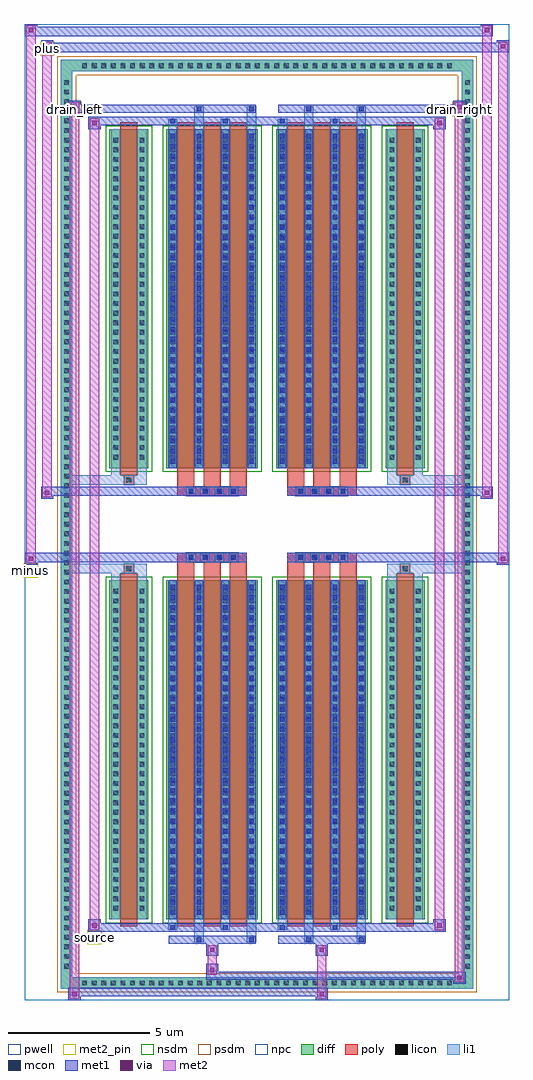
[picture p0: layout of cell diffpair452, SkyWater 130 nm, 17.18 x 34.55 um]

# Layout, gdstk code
import gdstk
lib = gdstk.Library(unit=1e-6, precision=5e-09)
def R(c, l, rs):  # rectangles x0, y0, x1, y1
    for r in rs: c.add(gdstk.rectangle(r[:2], r[2:], *l))
def A(c, l, x, y, w, h, nx, ny, dx, dy):  # array of equal rectangles
    R(c, l, [(x+i*dx, y+j*dy, x+i*dx+w, y+j*dy+h) for i in range(nx) for j in range(ny)])
def P(c, l, *ps):  # polygons
    for p in ps: c.add(gdstk.Polygon(p, *l))
pwell = (64, 44)
diff = (65, 20)
poly = (66, 20)
licon = (66, 44)
li1 = (67, 20)
mcon = (67, 44)
met1 = (68, 20)
via = (68, 44)
met2_pin = (69, 16)
met2 = (69, 20)
nsdm = (93, 44)
psdm = (94, 20)
npc = (95, 20)

diffpair452 = lib.new_cell('diffpair452')
R(diffpair452, pwell, [(-8.57,-16.84,8.57,17.71), (-5.89,-15.03,-0.01,-0.805), (0.01,-15.03,5.89,-0.805), (-5.89,0.805,-0.01,15.03), (0.01,0.805,5.89,15.03)])
A(diffpair452, diff, -6.665, -16.44, 0.41, 0.41, 39, 2, 0.34, 32.47)
A(diffpair452, diff, -7.3, -15.845, 0.41, 0.41, 1, 93, 0, 0.34)
A(diffpair452, diff, 6.89, -15.845, 0.41, 0.41, 1, 93, 0, 0.34)
R(diffpair452, diff, [(-6.665,-16.44,6.665,-16.03), (-7.3,-15.845,-6.89,15.845), (6.89,-15.845,7.3,15.845), (-5.58,-13.985,-4.2,-1.985), (-3.56,-13.985,-0.32,-1.985), (0.32,-13.985,3.56,-1.985), (4.2,-13.985,5.58,-1.985), (-5.58,1.985,-4.2,13.985), (-3.56,1.985,-0.32,13.985), (0.32,1.985,3.56,13.985), (4.2,1.985,5.58,13.985), (-6.665,16.03,6.665,16.44)])
P(diffpair452, diff, [(7.3,16.44),(-7.3,16.44),(-7.3,-16.03),(-6.89,-16.03),(-6.89,16.03),(6.89,16.03),(6.89,-16.03),(-6.89,-16.03),(-7.3,-16.03),(-7.3,-16.44),(7.3,-16.44)])
A(diffpair452, poly, -3.17, -14.235, 0.6, 12.5, 3, 2, 0.93, 15.97)
A(diffpair452, poly, 0.71, -14.235, 0.6, 12.5, 3, 2, 0.93, 15.97)
A(diffpair452, poly, -3.17, -1.735, 0.6, 0.4, 3, 2, 0.93, 3.07)
A(diffpair452, poly, 0.71, -1.735, 0.6, 0.4, 3, 2, 0.93, 3.07)
A(diffpair452, poly, -2.855, -1.335, 0.33, 0.33, 4, 2, 0.5, 2.34)
A(diffpair452, poly, 1.025, -1.335, 0.33, 0.33, 4, 2, 0.5, 2.34)
R(diffpair452, poly, [(-5.19,-14.235,-4.59,-1.735), (4.59,-14.235,5.19,-1.735), (-5.055,-1.735,-4.725,-1.405), (-5.055,-1.735,-4.725,-1.405), (4.725,-1.735,5.055,-1.405), (4.725,-1.735,5.055,-1.405), (-3.17,-1.335,-0.71,-1.005), (0.71,-1.335,3.17,-1.005), (-3.17,1.005,-0.71,1.335), (0.71,1.005,3.17,1.335), (-5.055,1.405,-4.725,1.735), (-5.055,1.405,-4.725,1.735), (4.725,1.405,5.055,1.735), (4.725,1.405,5.055,1.735), (-5.19,1.735,-4.59,14.235), (4.59,1.735,5.19,14.235)])
A(diffpair452, licon, -6.545, -16.32, 0.17, 0.17, 39, 2, 0.34, 32.47)
A(diffpair452, licon, -7.18, -15.725, 0.17, 0.17, 1, 93, 0, 0.34)
A(diffpair452, licon, 7.01, -15.725, 0.17, 0.17, 1, 93, 0, 0.34)
A(diffpair452, licon, -5.44, -13.68, 0.17, 0.17, 1, 34, 0, 0.34)
A(diffpair452, licon, -4.51, -13.68, 0.17, 0.17, 1, 34, 0, 0.34)
A(diffpair452, licon, -3.42, -13.68, 0.17, 0.17, 4, 34, 0.93, 0.34)
A(diffpair452, licon, 0.46, -13.68, 0.17, 0.17, 4, 34, 0.93, 0.34)
A(diffpair452, licon, 4.34, -13.68, 0.17, 0.17, 1, 34, 0, 0.34)
A(diffpair452, licon, 5.27, -13.68, 0.17, 0.17, 1, 34, 0, 0.34)
A(diffpair452, licon, -2.775, -1.255, 0.17, 0.17, 4, 2, 0.5, 2.34)
A(diffpair452, licon, 1.105, -1.255, 0.17, 0.17, 4, 2, 0.5, 2.34)
A(diffpair452, licon, -5.44, 2.29, 0.17, 0.17, 1, 34, 0, 0.34)
A(diffpair452, licon, -4.51, 2.29, 0.17, 0.17, 1, 34, 0, 0.34)
A(diffpair452, licon, -3.42, 2.29, 0.17, 0.17, 4, 34, 0.93, 0.34)
A(diffpair452, licon, 0.46, 2.29, 0.17, 0.17, 4, 34, 0.93, 0.34)
A(diffpair452, licon, 4.34, 2.29, 0.17, 0.17, 1, 34, 0, 0.34)
A(diffpair452, licon, 5.27, 2.29, 0.17, 0.17, 1, 34, 0, 0.34)
R(diffpair452, licon, [(-4.975,-1.655,-4.805,-1.485), (4.805,-1.655,4.975,-1.485), (-4.975,1.485,-4.805,1.655), (4.805,1.485,4.975,1.655)])
A(diffpair452, li1, -6.625, -16.4, 0.33, 0.33, 39, 2, 0.34, 32.47)
A(diffpair452, li1, -7.26, -15.805, 0.33, 0.33, 1, 93, 0, 0.34)
A(diffpair452, li1, 6.93, -15.805, 0.33, 0.33, 1, 93, 0, 0.34)
A(diffpair452, li1, -3.5, -13.985, 0.33, 12, 4, 2, 0.93, 15.97)
A(diffpair452, li1, 0.38, -13.985, 0.33, 12, 4, 2, 0.93, 15.97)
A(diffpair452, li1, -3.42, -13.83, 0.17, 0.17, 4, 33, 0.93, 0.36)
A(diffpair452, li1, -3.42, -13.83, 0.17, 11.69, 4, 2, 0.93, 15.97)
A(diffpair452, li1, 0.46, -13.83, 0.17, 0.17, 4, 33, 0.93, 0.36)
A(diffpair452, li1, 0.46, -13.83, 0.17, 11.69, 4, 2, 0.93, 15.97)
A(diffpair452, li1, -5.52, -13.76, 0.33, 0.33, 1, 34, 0, 0.34)
A(diffpair452, li1, -4.59, -13.76, 0.33, 0.33, 1, 34, 0, 0.34)
A(diffpair452, li1, -3.5, -13.76, 0.33, 0.33, 4, 34, 0.93, 0.34)
A(diffpair452, li1, 0.38, -13.76, 0.33, 0.33, 4, 34, 0.93, 0.34)
A(diffpair452, li1, 4.26, -13.76, 0.33, 0.33, 1, 34, 0, 0.34)
A(diffpair452, li1, 5.19, -13.76, 0.33, 0.33, 1, 34, 0, 0.34)
A(diffpair452, li1, -2.855, -1.335, 0.33, 0.33, 4, 2, 0.5, 2.34)
A(diffpair452, li1, 1.025, -1.335, 0.33, 0.33, 4, 2, 0.5, 2.34)
A(diffpair452, li1, -3.42, 2.14, 0.17, 0.17, 4, 33, 0.93, 0.36)
A(diffpair452, li1, 0.46, 2.14, 0.17, 0.17, 4, 33, 0.93, 0.36)
A(diffpair452, li1, -5.52, 2.21, 0.33, 0.33, 1, 34, 0, 0.34)
A(diffpair452, li1, -4.59, 2.21, 0.33, 0.33, 1, 34, 0, 0.34)
A(diffpair452, li1, -3.5, 2.21, 0.33, 0.33, 4, 34, 0.93, 0.34)
A(diffpair452, li1, 0.38, 2.21, 0.33, 0.33, 4, 34, 0.93, 0.34)
A(diffpair452, li1, 4.26, 2.21, 0.33, 0.33, 1, 34, 0, 0.34)
A(diffpair452, li1, 5.19, 2.21, 0.33, 0.33, 1, 34, 0, 0.34)
R(diffpair452, li1, [(-7.3,-16.44,-6.89,-16.03), (-7.3,-16.44,-6.89,-16.03), (-6.89,-16.44,6.89,-16.03), (6.89,-16.44,7.3,-16.03), (6.89,-16.44,7.3,-16.03), (-7.3,-16.03,-6.89,16.03), (6.89,-16.03,7.3,16.03), (-2.57,-14.79,-2.24,-13.985), (-2.49,-14.79,-2.32,-14.62), (-0.71,-14.79,-0.38,-13.985), (-0.63,-14.79,-0.46,-14.62), (1.31,-14.79,1.64,-13.985), (1.39,-14.79,1.56,-14.62), (3.17,-14.79,3.5,-13.985), (3.25,-14.79,3.42,-14.62), (-3.5,-14.36,-3.17,-13.985), (-3.42,-14.36,-3.25,-14.19), (-1.64,-14.36,-1.31,-13.985), (-1.56,-14.36,-1.39,-14.19), (0.38,-14.36,0.71,-13.985), (0.46,-14.36,0.63,-14.19), (2.24,-14.36,2.57,-13.985), (2.32,-14.36,2.49,-14.19), (-5.52,-13.985,-5.19,-1.985), (-4.59,-13.985,-4.26,-1.985), (4.26,-13.985,4.59,-1.985), (5.19,-13.985,5.52,-1.985), (-5.52,-1.985,-5.19,-1.405), (-4.59,-1.985,-4.26,-1.405), (4.26,-1.985,4.59,-1.405), (5.19,-1.985,5.52,-1.405), (-7.3,-1.735,-5.055,-1.405), (-5.52,-1.735,-5.055,-1.405), (-5.055,-1.735,-4.725,-1.405), (-4.725,-1.735,-4.26,-1.405), (4.26,-1.735,4.725,-1.405), (4.725,-1.735,5.055,-1.405), (4.725,-1.735,7.3,-1.405), (5.055,-1.735,5.52,-1.405), (-7.3,1.405,-5.055,1.735), (-5.52,1.405,-5.055,1.735), (-5.52,1.405,-5.19,1.985), (-5.055,1.405,-4.725,1.735), (-4.725,1.405,-4.26,1.735), (-4.59,1.405,-4.26,1.985), (4.26,1.405,4.725,1.735), (4.26,1.405,4.59,1.985), (4.725,1.405,5.055,1.735), (4.725,1.405,7.3,1.735), (5.055,1.405,5.52,1.735), (5.19,1.405,5.52,1.985), (-5.52,1.985,-5.19,13.985), (-4.59,1.985,-4.26,13.985), (4.26,1.985,4.59,13.985), (5.19,1.985,5.52,13.985), (-3.5,13.985,-3.17,14.36), (-2.57,13.985,-2.24,14.79), (-1.64,13.985,-1.31,14.36), (-0.71,13.985,-0.38,14.79), (0.38,13.985,0.71,14.36), (1.31,13.985,1.64,14.79), (2.24,13.985,2.57,14.36), (3.17,13.985,3.5,14.79), (-3.42,14.19,-3.25,14.36), (-1.56,14.19,-1.39,14.36), (0.46,14.19,0.63,14.36), (2.32,14.19,2.49,14.36), (-2.49,14.62,-2.32,14.79), (-0.63,14.62,-0.46,14.79), (1.39,14.62,1.56,14.79), (3.25,14.62,3.42,14.79), (-7.3,16.03,-6.89,16.44), (-7.3,16.03,-6.89,16.44), (-6.89,16.03,6.89,16.44), (6.89,16.03,7.3,16.44), (6.89,16.03,7.3,16.44)])
A(diffpair452, mcon, -3.42, -13.83, 0.17, 0.17, 4, 33, 0.93, 0.36)
A(diffpair452, mcon, 0.46, -13.83, 0.17, 0.17, 4, 33, 0.93, 0.36)
A(diffpair452, mcon, -2.775, -1.255, 0.17, 0.17, 4, 2, 0.5, 2.34)
A(diffpair452, mcon, 1.105, -1.255, 0.17, 0.17, 4, 2, 0.5, 2.34)
A(diffpair452, mcon, -3.42, 2.14, 0.17, 0.17, 4, 33, 0.93, 0.36)
A(diffpair452, mcon, 0.46, 2.14, 0.17, 0.17, 4, 33, 0.93, 0.36)
R(diffpair452, mcon, [(-2.49,-14.79,-2.32,-14.62), (-0.63,-14.79,-0.46,-14.62), (1.39,-14.79,1.56,-14.62), (3.25,-14.79,3.42,-14.62), (-3.42,-14.36,-3.25,-14.19), (-1.56,-14.36,-1.39,-14.19), (0.46,-14.36,0.63,-14.19), (2.32,-14.36,2.49,-14.19), (-3.42,14.19,-3.25,14.36), (-1.56,14.19,-1.39,14.36), (0.46,14.19,0.63,14.36), (2.32,14.19,2.49,14.36), (-2.49,14.62,-2.32,14.79), (-0.63,14.62,-0.46,14.79), (1.39,14.62,1.56,14.79), (3.25,14.62,3.42,14.79)])
A(diffpair452, met1, -3.48, -13.985, 0.29, 12, 4, 2, 0.93, 15.97)
A(diffpair452, met1, 0.4, -13.985, 0.29, 12, 4, 2, 0.93, 15.97)
A(diffpair452, met1, -3.48, -13.89, 0.29, 0.29, 4, 33, 0.93, 0.36)
A(diffpair452, met1, 0.4, -13.89, 0.29, 0.29, 4, 33, 0.93, 0.36)
A(diffpair452, met1, -2.835, -1.315, 0.29, 0.29, 4, 2, 0.5, 2.34)
A(diffpair452, met1, 1.045, -1.315, 0.29, 0.29, 4, 2, 0.5, 2.34)
A(diffpair452, met1, -3.48, 2.08, 0.29, 0.29, 4, 33, 0.93, 0.36)
A(diffpair452, met1, 0.4, 2.08, 0.29, 0.29, 4, 33, 0.93, 0.36)
R(diffpair452, met1, [(-7.03,-16.84,-6.6,-16.41), (1.725,-16.84,2.155,-16.41), (-7.03,-16.7,2.155,-16.41), (6.6,-16.27,7.03,-15.84), (-2.155,-16.13,7.03,-15.84), (-2.155,-15.99,-1.725,-15.56), (-2.155,-15.28,-1.725,-14.85), (1.725,-15.28,2.155,-14.85), (-3.48,-14.85,-0.4,-14.56), (-2.55,-14.85,-2.26,-14.56), (-0.69,-14.85,-0.4,-14.56), (0.4,-14.85,3.48,-14.56), (1.33,-14.85,1.62,-14.56), (3.19,-14.85,3.48,-14.56), (-6.32,-14.42,-5.89,-13.99), (-6.32,-14.42,-3.48,-14.13), (-3.48,-14.42,-3.19,-14.13), (-3.48,-14.42,-0.4,-14.13), (-1.62,-14.42,-1.33,-14.13), (-0.4,-14.42,0.4,-14.13), (0.4,-14.42,0.69,-14.13), (0.4,-14.42,3.48,-14.13), (2.26,-14.42,2.55,-14.13), (3.48,-14.42,6.32,-14.13), (5.89,-14.42,6.32,-13.99), (-8.57,-1.435,-8.14,-1.005), (8.14,-1.435,8.57,-1.005), (-8.57,-1.335,-0.71,-1.005), (-3.17,-1.335,-0.71,-1.005), (0.71,-1.335,3.17,-1.005), (0.71,-1.335,8.57,-1.005), (-8,0.905,-7.57,1.335), (7.57,0.905,8,1.335), (-8,1.005,-3.17,1.335), (-3.17,1.005,-0.71,1.335), (0.71,1.005,3.17,1.335), (3.17,1.005,8,1.335), (-6.32,13.99,-5.89,14.42), (5.89,13.99,6.32,14.42), (-6.32,14.13,-3.48,14.42), (-3.48,14.13,-3.19,14.42), (-3.48,14.13,-0.4,14.42), (-1.62,14.13,-1.33,14.42), (-0.4,14.13,0.4,14.42), (0.4,14.13,0.69,14.42), (0.4,14.13,3.48,14.42), (2.26,14.13,2.55,14.42), (3.48,14.13,6.32,14.42), (-7.03,14.56,-6.6,14.99), (-7.03,14.56,-3.48,14.85), (-3.48,14.56,-0.4,14.85), (-2.55,14.56,-2.26,14.85), (-0.69,14.56,-0.4,14.85), (0.4,14.56,3.48,14.85), (1.33,14.56,1.62,14.85), (3.19,14.56,3.48,14.85), (3.48,14.56,7.03,14.85), (6.6,14.56,7.03,14.99), (-8,16.71,-7.57,17.14), (-8,16.71,-5.89,17.04), (-5.89,16.71,5.89,17.04), (5.89,16.71,8.57,17.04), (8.14,16.71,8.57,17.14), (-8.57,17.28,-8.14,17.71), (-8.57,17.28,-5.89,17.61), (-5.89,17.28,5.89,17.61), (5.89,17.28,8,17.61), (7.57,17.28,8,17.71)])
R(diffpair452, via, [(-6.89,-16.7,-6.74,-16.55), (1.865,-16.7,2.015,-16.55), (6.74,-16.13,6.89,-15.98), (-2.015,-15.85,-1.865,-15.7), (-2.015,-15.14,-1.865,-14.99), (1.865,-15.14,2.015,-14.99), (-6.18,-14.28,-6.03,-14.13), (6.03,-14.28,6.18,-14.13), (-8.43,-1.295,-8.28,-1.145), (8.28,-1.295,8.43,-1.145), (-7.86,1.045,-7.71,1.195), (7.71,1.045,7.86,1.195), (-6.18,14.13,-6.03,14.28), (6.03,14.13,6.18,14.28), (-6.89,14.7,-6.74,14.85), (6.74,14.7,6.89,14.85), (-7.86,16.85,-7.71,17), (8.28,16.85,8.43,17), (-8.43,17.42,-8.28,17.57), (7.71,17.42,7.86,17.57)])
R(diffpair452, met2_pin, [(-6.355,-14.87,-5.855,-14.37), (-8.605,-1.885,-8.105,-1.385), (-7.065,14.44,-6.565,14.94), (6.565,14.44,7.065,14.94), (-8.035,16.59,-7.535,17.09)])
R(diffpair452, met2, [(-6.98,-16.79,-6.65,-16.46), (-6.98,-16.79,-6.65,14.94), (1.775,-16.79,2.105,-16.46), (1.775,-16.46,2.105,-15.23), (6.65,-16.22,6.98,-15.89), (6.65,-16.22,6.98,14.94), (-2.105,-15.94,-1.775,-15.61), (-2.105,-15.61,-1.775,-15.23), (-2.105,-15.23,-1.775,-14.9), (1.775,-15.23,2.105,-14.9), (-6.27,-14.37,-5.94,-14.04), (-6.27,-14.37,-5.94,14.37), (5.94,-14.37,6.27,-14.04), (5.94,-14.37,6.27,14.37), (-8.52,-1.385,-8.19,-1.055), (-8.52,-1.385,-8.19,17.66), (8.19,-1.385,8.52,-1.055), (8.19,-1.385,8.52,17.09), (-7.95,0.955,-7.62,1.285), (-7.95,0.955,-7.62,17.09), (7.62,0.955,7.95,1.285), (7.62,0.955,7.95,17.66), (-6.27,14.04,-5.94,14.37), (5.94,14.04,6.27,14.37), (-6.98,14.61,-6.65,14.94), (6.65,14.61,6.98,14.94), (-7.95,16.76,-7.62,17.09), (8.19,16.76,8.52,17.09), (-8.52,17.33,-8.19,17.66), (7.62,17.33,7.95,17.66)])
P(diffpair452, met2, [(8.52,-1.385),(8.52,-1.385),(8.52,-1.055),(8.52,-1.055)],
  [(8.52,16.76),(8.52,16.76),(8.52,17.09),(8.52,17.09)],
  [(-8.19,-1.385),(-8.19,-1.385),(-8.19,-1.055),(-8.19,-1.055)],
  [(-8.19,17.33),(-8.19,17.33),(-8.19,17.66),(-8.19,17.66)],
  [(7.95,0.955),(7.95,0.955),(7.95,1.285),(7.95,1.285)],
  [(7.95,17.33),(7.95,17.33),(7.95,17.66),(7.95,17.66)],
  [(-7.62,0.955),(-7.62,0.955),(-7.62,1.285),(-7.62,1.285)],
  [(-7.62,16.76),(-7.62,16.76),(-7.62,17.09),(-7.62,17.09)],
  [(-6.65,-16.79),(-6.65,-16.79),(-6.65,-16.46),(-6.65,-16.46)],
  [(-6.65,14.61),(-6.65,14.61),(-6.65,14.94),(-6.65,14.94)],
  [(6.98,-16.22),(6.98,-16.22),(6.98,-15.89),(6.98,-15.89)],
  [(6.98,14.61),(6.98,14.61),(6.98,14.94),(6.98,14.94)],
  [(-5.94,-14.37),(-5.94,-14.37),(-5.94,-14.04),(-5.94,-14.04)],
  [(-5.94,14.04),(-5.94,14.04),(-5.94,14.37),(-5.94,14.37)],
  [(6.27,-14.37),(6.27,-14.37),(6.27,-14.04),(6.27,-14.04)],
  [(6.27,14.04),(6.27,14.04),(6.27,14.37),(6.27,14.37)])
R(diffpair452, nsdm, [(-5.71,-14.115,-4.07,-1.855), (-3.69,-14.115,-0.19,-1.855), (0.19,-14.115,3.69,-1.855), (4.07,-14.115,5.71,-1.855), (-5.71,1.855,-4.07,14.115), (-3.69,1.855,-0.19,14.115), (0.19,1.855,3.69,14.115), (4.07,1.855,5.71,14.115)])
P(diffpair452, psdm, [(7.43,16.57),(-7.43,16.57),(-7.43,-15.9),(-6.76,-15.9),(-6.76,15.9),(6.76,15.9),(6.76,-15.9),(-6.76,-15.9),(-7.43,-15.9),(-7.43,-16.57),(7.43,-16.57)])
A(diffpair452, npc, -2.875, -1.355, 0.37, 0.37, 4, 2, 0.5, 2.34)
A(diffpair452, npc, 1.005, -1.355, 0.37, 0.37, 4, 2, 0.5, 2.34)
R(diffpair452, npc, [(-5.075,-1.755,-4.705,-1.385), (4.705,-1.755,5.075,-1.385), (-2.875,-1.355,-2.005,-0.985), (-2.875,-1.355,-2.005,-0.985), (-2.375,-1.355,-1.505,-0.985), (-2.375,-1.355,-1.505,-0.985), (-1.875,-1.355,-1.005,-0.985), (-1.875,-1.355,-1.005,-0.985), (1.005,-1.355,1.875,-0.985), (1.005,-1.355,1.875,-0.985), (1.505,-1.355,2.375,-0.985), (1.505,-1.355,2.375,-0.985), (2.005,-1.355,2.875,-0.985), (2.005,-1.355,2.875,-0.985), (-2.875,0.985,-2.005,1.355), (-2.875,0.985,-2.005,1.355), (-2.375,0.985,-1.505,1.355), (-2.375,0.985,-1.505,1.355), (-1.875,0.985,-1.005,1.355), (-1.875,0.985,-1.005,1.355), (1.005,0.985,1.875,1.355), (1.005,0.985,1.875,1.355), (1.505,0.985,2.375,1.355), (1.505,0.985,2.375,1.355), (2.005,0.985,2.875,1.355), (2.005,0.985,2.875,1.355), (-5.075,1.385,-4.705,1.755), (4.705,1.385,5.075,1.755)])
diffpair452.add(gdstk.Label('minus', (-8.355,-1.635), layer=69, texttype=5))
diffpair452.add(gdstk.Label('drain_right', (6.815,14.69), layer=69, texttype=5))
diffpair452.add(gdstk.Label('drain_left', (-6.815,14.69), layer=69, texttype=5))
diffpair452.add(gdstk.Label('source', (-6.105,-14.62), layer=69, texttype=5))
diffpair452.add(gdstk.Label('plus', (-7.785,16.84), layer=69, texttype=5))

lib.write_gds('diffpair452.gds')
